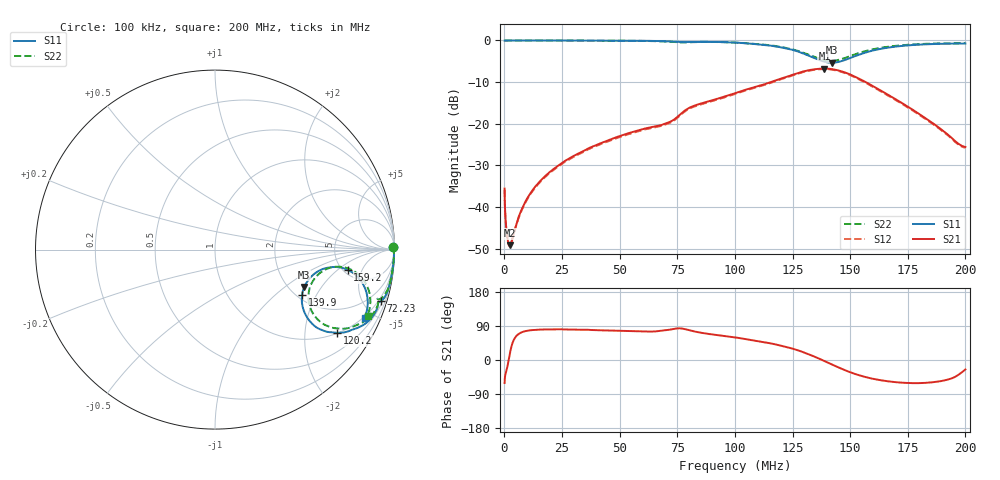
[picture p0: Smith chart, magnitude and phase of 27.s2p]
#  HZ  S  RI  R  50.00
! Rohde & Schwarz Vector Network Analyzer
! Rohde-Schwarz,ZNLE6-2Port,1323001256200024,1.71.1.10-23.02.1.238
! Created: UTC 4/8/2025, 2:07:41 AM
! freq[Hz]  re:S11  im:S11  re:S21  im:S21  re:S12  im:S12  re:S22  im:S22
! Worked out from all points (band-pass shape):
!   1001 points, 100 kHz to 200 MHz, reference 50 ohm
!   highest |S21| = -6.77 dB at 138.9 MHz (marker M1); lowest = -49.2 dB at 2.326 MHz (marker M2)
!   |S21| within 3 dB of the highest: 116.9 MHz to 155.9 MHz (39.07 MHz wide, 28.6 % of centre)
!   lowest |S11| = -5.4 dB at 142.1 MHz (marker M3), VSWR 3.34, Z = 120 - j70.3 ohm
!   |S11| at or under -10 dB: nowhere
!   |S22| runs from -4.9 to 0.0 dB; largest |S21 - S12| = 0.0075
!   S11 on the Smith chart (normalised r, x): 100 kHz: open; 72.23 MHz: 0.70, -6.52; 120.2 MHz: 1.02, -2.92; 139.9 MHz: 2.14, -1.53; 159.2 MHz: 5.46, -2.80; 200 MHz: 0.92, -4.41
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100000  0.992 0.0143  0.00816 -0.0145  0.00794 -0.0142  0.9922 0.0139
355854.1  0.9935 0.00465  0.00647 -0.00553  0.00631 -0.00539  0.9939 0.00456
1266322  0.9958 -0.0016  0.00412 -0.00141  0.00402 -0.00138  0.9959 -0.00156
2326089  0.9966 -0.00638  0.00337 0.000892  0.00329 0.000871  0.9966 -0.00594
3152591  0.9969 -0.0091  0.0031 0.00238  0.00304 0.00231  0.9974 -0.00823
4472136  0.9968 -0.0149  0.00287 0.0045  0.00283 0.00438  0.9976 -0.0126
1.591428e7  0.9953 -0.0581  0.00353 0.0208  0.0036 0.0202  0.9958 -0.0555
3.251501e7  0.9881 -0.1207  0.00778 0.0438  0.00839 0.0426  0.9891 -0.1156
5.663162e7  0.966 -0.2186  0.0201 0.0786  0.0206 0.0762  0.9668 -0.2112
7.222574e7  0.9253 -0.2871  0.017 0.1051  0.018 0.1023  0.9229 -0.2742
8.156587e7  0.9084 -0.3042  0.0374 0.1569  0.0383 0.1527  0.9092 -0.2807
9.714762e7  0.8661 -0.3864  0.1029 0.1932  0.1022 0.1882  0.8769 -0.3614
1.105477e8  0.7746 -0.4432  0.1874 0.2151  0.1849 0.2102  0.796 -0.4177
1.20188e8  0.6797 -0.4637  0.2771 0.2129  0.2727 0.2086  0.7065 -0.4412
1.296795e8  0.5522 -0.4234  0.3969 0.1488  0.391 0.146  0.5862 -0.4024
1.388611e8  0.4835 -0.2724  0.4583 -0.0222  0.4519 -0.0237  0.5207 -0.257
1.399206e8  0.4853 -0.2509  0.4558 -0.0456  0.4492 -0.0469  0.5226 -0.2367
1.420639e8  0.4972 -0.2082  0.4425 -0.0923  0.4358 -0.0934  0.534 -0.1957
1.498273e8  0.6021 -0.1076  0.3327 -0.2069  0.3252 -0.2062  0.6369 -0.1022
1.592205e8  0.7393 -0.1128  0.1911 -0.2177  0.1848 -0.2154  0.7666 -0.1157
1.757569e8  0.8422 -0.2333  0.0759 -0.1359  0.0727 -0.1338  0.8579 -0.2315
2e8  0.8336 -0.3814  0.0477 -0.0222  0.0464 -0.0221  0.8506 -0.3716
